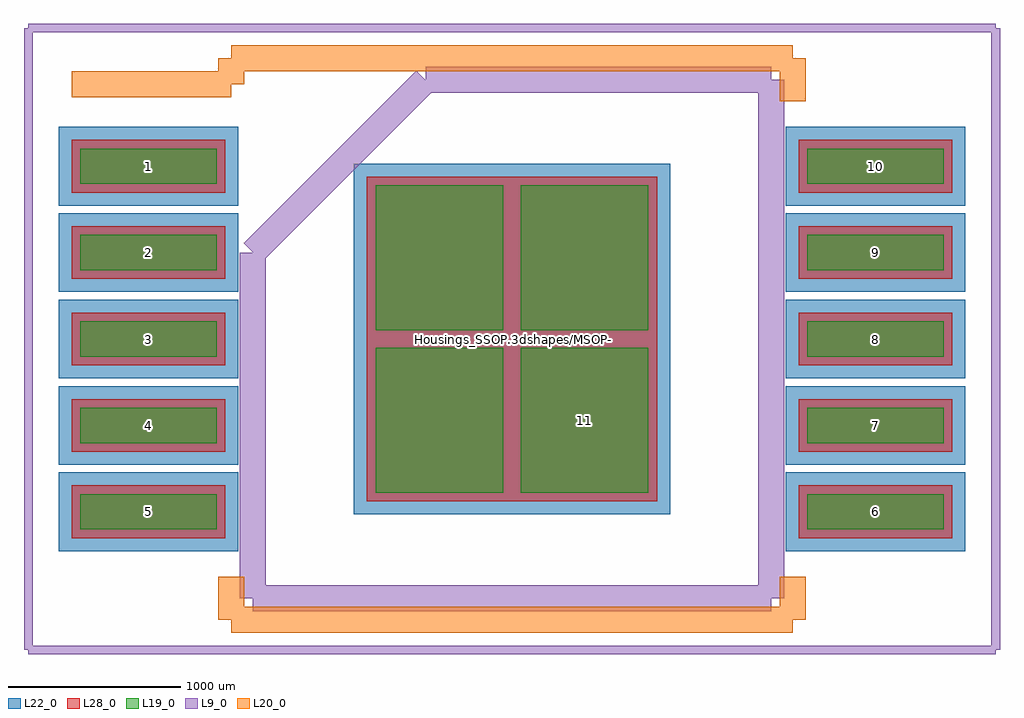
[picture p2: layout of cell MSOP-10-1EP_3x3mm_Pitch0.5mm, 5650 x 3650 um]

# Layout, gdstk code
import gdstk
lib = gdstk.Library(unit=1e-6, precision=1e-09)
def R(c, l, rs):  # rectangles x0, y0, x1, y1
    for r in rs: c.add(gdstk.rectangle(r[:2], r[2:], *l))
def A(c, l, x, y, w, h, nx, ny, dx, dy):  # array of equal rectangles
    R(c, l, [(x+i*dx, y+j*dy, x+i*dx+w, y+j*dy+h) for i in range(nx) for j in range(ny)])
L9_0 = (9, 0)
L19_0 = (19, 0)
L20_0 = (20, 0)
L22_0 = (22, 0)
L28_0 = (28, 0)

msop_10_1ep_3x3mm_pitch0 = lib.new_cell('MSOP-10-1EP_3x3mm_Pitch0.5mm')
A(msop_10_1ep_3x3mm_pitch0, L19_0, -2500, -1102.5, 790, 205, 1, 5, 0, 500)
A(msop_10_1ep_3x3mm_pitch0, L19_0, 1710, -1102.5, 790, 205, 1, 5, 0, 500)
R(msop_10_1ep_3x3mm_pitch0, L19_0, [(-790,-890,-50,-50), (50,-890,790,-50), (-790,50,-50,890), (50,50,790,890)])
A(msop_10_1ep_3x3mm_pitch0, L22_0, -2625, -1227.5, 1040, 455, 1, 5, 0, 500)
A(msop_10_1ep_3x3mm_pitch0, L22_0, 1585, -1227.5, 1040, 455, 1, 5, 0, 500)
R(msop_10_1ep_3x3mm_pitch0, L22_0, [(-915,-1015,75,75), (-75,-1015,915,75), (-915,-75,75,1015), (-75,-75,915,1015)])
A(msop_10_1ep_3x3mm_pitch0, L28_0, -2550, -1152.5, 890, 305, 1, 5, 0, 500)
A(msop_10_1ep_3x3mm_pitch0, L28_0, 1660, -1152.5, 890, 305, 1, 5, 0, 500)
R(msop_10_1ep_3x3mm_pitch0, L28_0, [(-840,-940,0,0), (0,-940,840,0), (-840,0,0,940), (0,0,840,940)])
msop_10_1ep_3x3mm_pitch0.add(gdstk.FlexPath([(-1625,1475),(-2550,1475)], 149.998, ends="flush", simple_path=True, layer=20, datatype=0))  # L20_0
msop_10_1ep_3x3mm_pitch0.add(gdstk.FlexPath([(-1625,-1625),(1625,-1625)], 149.998, ends="flush", simple_path=True, layer=20, datatype=0))  # L20_0
msop_10_1ep_3x3mm_pitch0.add(gdstk.FlexPath([(-1625,1625),(1625,1625)], 149.998, ends="flush", simple_path=True, layer=20, datatype=0))  # L20_0
msop_10_1ep_3x3mm_pitch0.add(gdstk.FlexPath([(-1625,-1625),(-1625,-1377.5)], 149.998, ends="flush", simple_path=True, layer=20, datatype=0))  # L20_0
msop_10_1ep_3x3mm_pitch0.add(gdstk.FlexPath([(1625,-1625),(1625,-1377.5)], 149.998, ends="flush", simple_path=True, layer=20, datatype=0))  # L20_0
msop_10_1ep_3x3mm_pitch0.add(gdstk.FlexPath([(1625,1625),(1625,1377.5)], 149.998, ends="flush", simple_path=True, layer=20, datatype=0))  # L20_0
msop_10_1ep_3x3mm_pitch0.add(gdstk.FlexPath([(-1625,1625),(-1625,1475)], 149.998, ends="flush", simple_path=True, layer=20, datatype=0))  # L20_0
msop_10_1ep_3x3mm_pitch0.add(gdstk.FlexPath([(-2800,-1800),(2800,-1800)], 50, ends="flush", simple_path=True, layer=9, datatype=0))  # L9_0
msop_10_1ep_3x3mm_pitch0.add(gdstk.FlexPath([(-2800,1800),(2800,1800)], 50, ends="flush", simple_path=True, layer=9, datatype=0))  # L9_0
msop_10_1ep_3x3mm_pitch0.add(gdstk.FlexPath([(2800,1800),(2800,-1800)], 50, ends="flush", simple_path=True, layer=9, datatype=0))  # L9_0
msop_10_1ep_3x3mm_pitch0.add(gdstk.FlexPath([(-2800,1800),(-2800,-1800)], 50, ends="flush", simple_path=True, layer=9, datatype=0))  # L9_0
msop_10_1ep_3x3mm_pitch0.add(gdstk.FlexPath([(-1500,500),(-500,1500)], 149.998, ends="flush", simple_path=True, layer=9, datatype=0))  # L9_0
msop_10_1ep_3x3mm_pitch0.add(gdstk.FlexPath([(-1500,-1500),(-1500,500)], 149.998, ends="flush", simple_path=True, layer=9, datatype=0))  # L9_0
msop_10_1ep_3x3mm_pitch0.add(gdstk.FlexPath([(1500,-1500),(-1500,-1500)], 149.998, ends="flush", simple_path=True, layer=9, datatype=0))  # L9_0
msop_10_1ep_3x3mm_pitch0.add(gdstk.FlexPath([(1500,1500),(1500,-1500)], 149.998, ends="flush", simple_path=True, layer=9, datatype=0))  # L9_0
msop_10_1ep_3x3mm_pitch0.add(gdstk.FlexPath([(-500,1500),(1500,1500)], 149.998, ends="flush", simple_path=True, layer=9, datatype=0))  # L9_0
msop_10_1ep_3x3mm_pitch0.add(gdstk.Label('Housings_SSOP.3dshapes/MSOP-10-1EP_3x3mm_Pitch0.5mm.wrl', (0,0), layer=12, texttype=0))
msop_10_1ep_3x3mm_pitch0.add(gdstk.Label('11', (420,-470), layer=28, texttype=0))
msop_10_1ep_3x3mm_pitch0.add(gdstk.Label('10', (2105,1000), layer=28, texttype=0))
msop_10_1ep_3x3mm_pitch0.add(gdstk.Label('9', (2105,500), layer=28, texttype=0))
msop_10_1ep_3x3mm_pitch0.add(gdstk.Label('8', (2105,0), layer=28, texttype=0))
msop_10_1ep_3x3mm_pitch0.add(gdstk.Label('7', (2105,-500), layer=28, texttype=0))
msop_10_1ep_3x3mm_pitch0.add(gdstk.Label('6', (2105,-1000), layer=28, texttype=0))
msop_10_1ep_3x3mm_pitch0.add(gdstk.Label('5', (-2105,-1000), layer=28, texttype=0))
msop_10_1ep_3x3mm_pitch0.add(gdstk.Label('4', (-2105,-500), layer=28, texttype=0))
msop_10_1ep_3x3mm_pitch0.add(gdstk.Label('3', (-2105,0), layer=28, texttype=0))
msop_10_1ep_3x3mm_pitch0.add(gdstk.Label('2', (-2105,500), layer=28, texttype=0))
msop_10_1ep_3x3mm_pitch0.add(gdstk.Label('1', (-2105,1000), layer=28, texttype=0))
msop_10_1ep_3x3mm_pitch0.add(gdstk.Label('type', (0,-2550), layer=9, texttype=0))
msop_10_1ep_3x3mm_pitch0.add(gdstk.Label('devicename', (0,2550), layer=9, texttype=0))

lib.write_gds('MSOP-10-1EP_3x3mm_Pitch0.5mm.gds')
